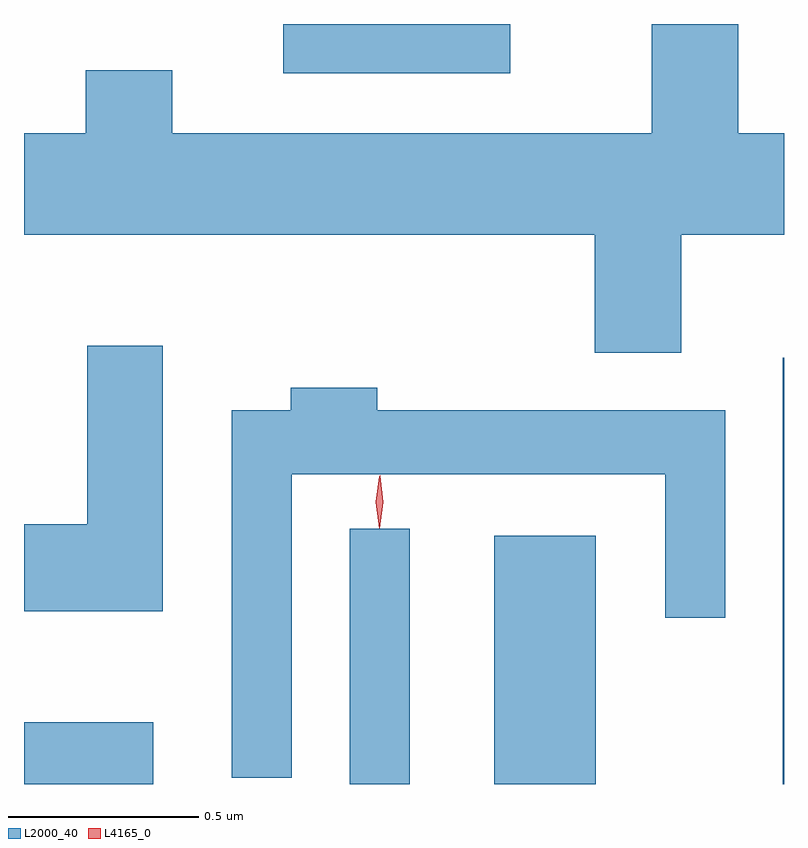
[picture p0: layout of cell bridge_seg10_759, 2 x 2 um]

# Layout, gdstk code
import gdstk
lib = gdstk.Library(unit=1e-6, precision=1e-09)
def R(c, l, rs):  # rectangles x0, y0, x1, y1
    for r in rs: c.add(gdstk.rectangle(r[:2], r[2:], *l))
def P(c, l, *ps):  # polygons
    for p in ps: c.add(gdstk.Polygon(p, *l))
L2000_40 = (2000, 40)
L4165_0 = (4165, 0)

bridge_seg10_759 = lib.new_cell('bridge_seg10_759')
R(bridge_seg10_759, L2000_40, [(1042.079,2132.451,1042.419,2132.614), (1042.936,2132.451,1043.094,2133.123), (1043.316,2132.451,1043.584,2133.104), (1044.076,2132.451,1044.079,2133.573), (1042.761,2134.321,1043.358,2134.451)])
P(bridge_seg10_759, L2000_40, [(1043.809,2133.896),(1044.079,2133.896),(1044.079,2134.164),(1043.959,2134.164),(1043.959,2134.451),(1043.731,2134.451),(1043.731,2134.164),(1042.469,2134.164),(1042.469,2134.329),(1042.241,2134.329),(1042.241,2134.164),(1042.079,2134.164),(1042.079,2133.896),(1043.581,2133.896),(1043.581,2133.586),(1043.809,2133.586)],
  [(1042.444,2133.604),(1042.246,2133.604),(1042.246,2133.134),(1042.079,2133.134),(1042.079,2132.906),(1042.444,2132.906)],
  [(1042.784,2133.266),(1043.766,2133.266),(1043.766,2132.888),(1043.924,2132.888),(1043.924,2133.434),(1043.009,2133.434),(1043.009,2133.494),(1042.781,2133.494),(1042.781,2133.434),(1042.626,2133.434),(1042.626,2132.468),(1042.784,2132.468)])
P(bridge_seg10_759, L4165_0, [(1043.015,2133.127),(1043.014,2133.128),(1043.005,2133.194),(1043.014,2133.26),(1043.015,2133.261),(1043.015,2133.26),(1043.025,2133.194),(1043.015,2133.128)],
  [(1043.014,2133.124),(1043.005,2133.193),(1043.015,2133.262),(1043.016,2133.263),(1043.016,2133.262),(1043.025,2133.193),(1043.015,2133.124),(1043.015,2133.124)])

lib.write_gds('bridge_seg10_759.gds')
